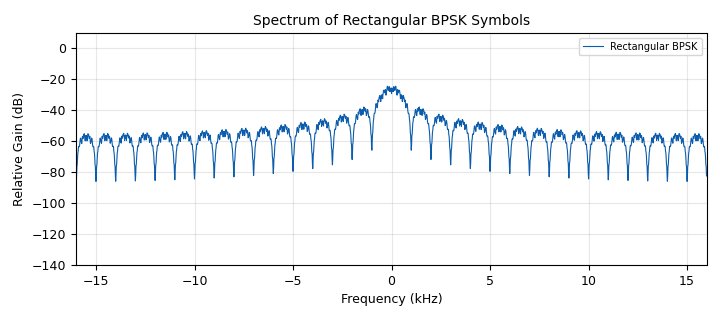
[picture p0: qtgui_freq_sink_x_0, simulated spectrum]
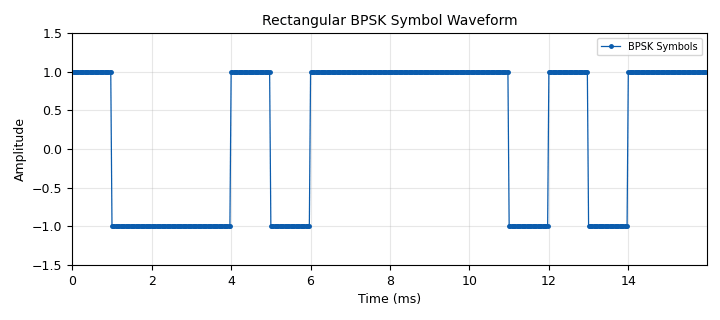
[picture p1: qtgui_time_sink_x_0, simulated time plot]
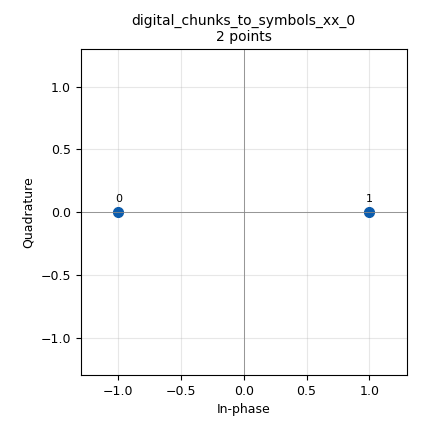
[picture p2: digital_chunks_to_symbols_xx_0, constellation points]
options:
  parameters:
    author: Dhrubjun
    generate_options: qt_gui
    id: exp1
    output_language: python
    title: Rectangular Symbols and Bandwidth
  states: {}

blocks:
- name: samp_rate
  id: variable
  parameters:
    value: '32000'
  states: {}
- name: sps
  id: variable
  parameters:
    value: int(samp_rate / symbol_rate)
  states: {}
- name: symbol_rate
  id: variable_qtgui_range
  parameters:
    label: Symbol Rate
    start: '500'
    step: '500'
    stop: '3000'
    value: '1000'
  states: {}
- name: analog_random_source_x_0
  id: analog_random_source_x
  parameters:
    max: '2'
    min: '0'
    num_samps: '1000'
    repeat: 'True'
    type: byte
  states: {}
- name: blocks_repeat_0_0
  id: blocks_repeat
  parameters:
    interp: sps
    type: float
  states: {}
- name: blocks_throttle2_0
  id: blocks_throttle2
  parameters:
    samples_per_second: samp_rate
    type: float
  states: {}
- name: digital_chunks_to_symbols_xx_0
  id: digital_chunks_to_symbols_xx
  parameters:
    dimension: '1'
    in_type: byte
    out_type: float
    symbol_table: '[-1, 1]'
  states: {}
- name: qtgui_freq_sink_x_0
  id: qtgui_freq_sink_x
  parameters:
    average: '0.05'
    bw: samp_rate
    fc: '0'
    fftsize: '2048'
    grid: 'True'
    label1: Rectangular BPSK
    name: Spectrum of Rectangular BPSK Symbols
    type: float
  states: {}
- name: qtgui_time_sink_x_0
  id: qtgui_time_sink_x
  parameters:
    grid: 'True'
    label1: BPSK Symbols
    marker1: '0'
    name: Rectangular BPSK Symbol Waveform
    size: '512'
    srate: samp_rate
    style1: '2'
    type: float
    ymax: '1.5'
    ymin: '-1.5'
  states: {}

connections:
- [analog_random_source_x_0, '0', digital_chunks_to_symbols_xx_0, '0']
- [blocks_repeat_0_0, '0', blocks_throttle2_0, '0']
- [blocks_throttle2_0, '0', qtgui_freq_sink_x_0, '0']
- [blocks_throttle2_0, '0', qtgui_time_sink_x_0, '0']
- [digital_chunks_to_symbols_xx_0, '0', blocks_repeat_0_0, '0']

metadata:
  file_format: 1
  grc_version: 3.10.12.0
